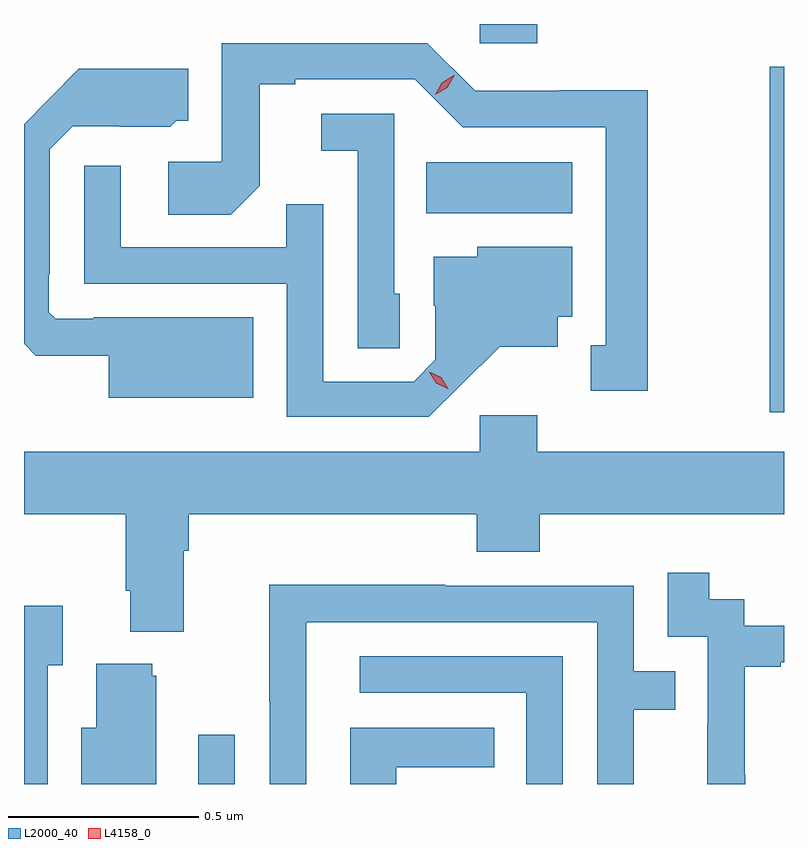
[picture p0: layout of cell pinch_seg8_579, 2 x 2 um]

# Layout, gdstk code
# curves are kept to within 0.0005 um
import gdstk
lib = gdstk.Library(unit=1e-6, precision=1e-09)
def R(c, l, rs):  # rectangles x0, y0, x1, y1
    for r in rs: c.add(gdstk.rectangle(r[:2], r[2:], *l))
def P(c, l, *ps):  # polygons
    for p in ps: c.add(gdstk.Polygon(p, *l))
L2000_40 = (2000, 40)
L4158_0 = (4158, 0)

pinch_seg8_579 = lib.new_cell('pinch_seg8_579')
R(pinch_seg8_579, L2000_40, [(166.515,1113.126,166.611,1113.256), (168.019,1114.104,168.057,1115.014), (167.116,1114.628,167.5,1114.762), (167.256,1115.075,167.408,1115.126)])
P(pinch_seg8_579, L2000_40, [(167.699,1114.952),(167.466,1114.952),(167.466,1114.95),(167.244,1114.95),(167.118,1115.076),(166.578,1115.076),(166.578,1114.764),(166.437,1114.764),(166.437,1114.624),(166.601,1114.624),(166.677,1114.7),(166.677,1114.968),(166.771,1114.968),(166.771,1114.98),(167.085,1114.98),(167.211,1114.854),(167.588,1114.854),(167.588,1114.281),(167.549,1114.281),(167.549,1114.161),(167.699,1114.161)],
  [(166.66,1114.354),(166.24,1114.354),(166.24,1114.35),(166.14,1114.35),(166.122,1114.368),(166.122,1114.468),(166.125,1114.468),(166.125,1114.797),(166.185,1114.857),(166.308,1114.857),(166.308,1114.856),(166.442,1114.856),(166.458,1114.872),(166.489,1114.872),(166.489,1115.008),(166.201,1115.008),(166.057,1114.862),(166.057,1114.284),(166.088,1114.253),(166.28,1114.253),(166.28,1114.142),(166.66,1114.142)],
  [(167.046,1114.416),(167.031,1114.416),(167.031,1114.89),(166.839,1114.89),(166.839,1114.793),(166.935,1114.793),(166.935,1114.273),(167.046,1114.273)],
  [(167.206,1114.175),(167.309,1114.277),(167.461,1114.277),(167.461,1114.356),(167.5,1114.356),(167.5,1114.54),(167.25,1114.54),(167.25,1114.513),(167.135,1114.513),(167.135,1114.384),(167.139,1114.384),(167.139,1114.242),(167.082,1114.185),(166.845,1114.185),(166.845,1114.652),(166.747,1114.652),(166.747,1114.539),(166.311,1114.539),(166.311,1114.753),(166.215,1114.753),(166.215,1114.443),(166.749,1114.443),(166.749,1114.092),(167.122,1114.092)],
  [(167.408,1114.096),(167.256,1114.096),(167.256,1114),(166.057,1114),(166.057,1113.836),(166.325,1113.836),(166.325,1113.634),(166.337,1113.634),(166.337,1113.527),(166.477,1113.527),(166.477,1113.74),(166.49,1113.74),(166.49,1113.836),(167.249,1113.836),(167.249,1113.737),(167.414,1113.737),(167.414,1113.836),(168.057,1113.836),(168.057,1114),(167.408,1114)],
  [(167.955,1113.151),(167.954,1113.151),(167.954,1113.435),(168.049,1113.435),(168.049,1113.447),(168.057,1113.447),(168.057,1113.543),(167.952,1113.543),(167.952,1113.612),(167.86,1113.612),(167.86,1113.682),(167.751,1113.682),(167.751,1113.513),(167.856,1113.513),(167.856,1113.284),(167.855,1113.284),(167.855,1113.126),(167.955,1113.126)],
  [(166.8,1113.552),(167.565,1113.552),(167.565,1113.126),(167.661,1113.126),(167.661,1113.322),(167.771,1113.322),(167.771,1113.423),(167.661,1113.423),(167.661,1113.648),(167.165,1113.648),(167.165,1113.65),(166.702,1113.65),(166.702,1113.343),(166.704,1113.343),(166.704,1113.126),(166.8,1113.126)],
  [(166.119,1113.439),(166.159,1113.439),(166.159,1113.595),(166.057,1113.595),(166.057,1113.126),(166.119,1113.126)],
  [(167.475,1113.462),(166.941,1113.462),(166.941,1113.366),(167.379,1113.366),(167.379,1113.126),(167.475,1113.126)],
  [(166.405,1113.411),(166.394,1113.411),(166.394,1113.442),(166.247,1113.442),(166.247,1113.274),(166.208,1113.274),(166.208,1113.126),(166.405,1113.126)],
  [(167.037,1113.17),(167.294,1113.17),(167.294,1113.274),(166.916,1113.274),(166.916,1113.126),(167.037,1113.126)])
P(pinch_seg8_579, L4158_0, [(167.139,1114.94),(167.139,1114.94),(167.156,1114.972),(167.188,1114.991),(167.189,1114.991),(167.189,1114.99),(167.171,1114.958),(167.139,1114.94)],
  [(167.172,1114.166),(167.142,1114.181),(167.124,1114.21),(167.124,1114.211),(167.124,1114.211),(167.155,1114.196),(167.173,1114.166),(167.173,1114.166)])

lib.write_gds('pinch_seg8_579.gds')
